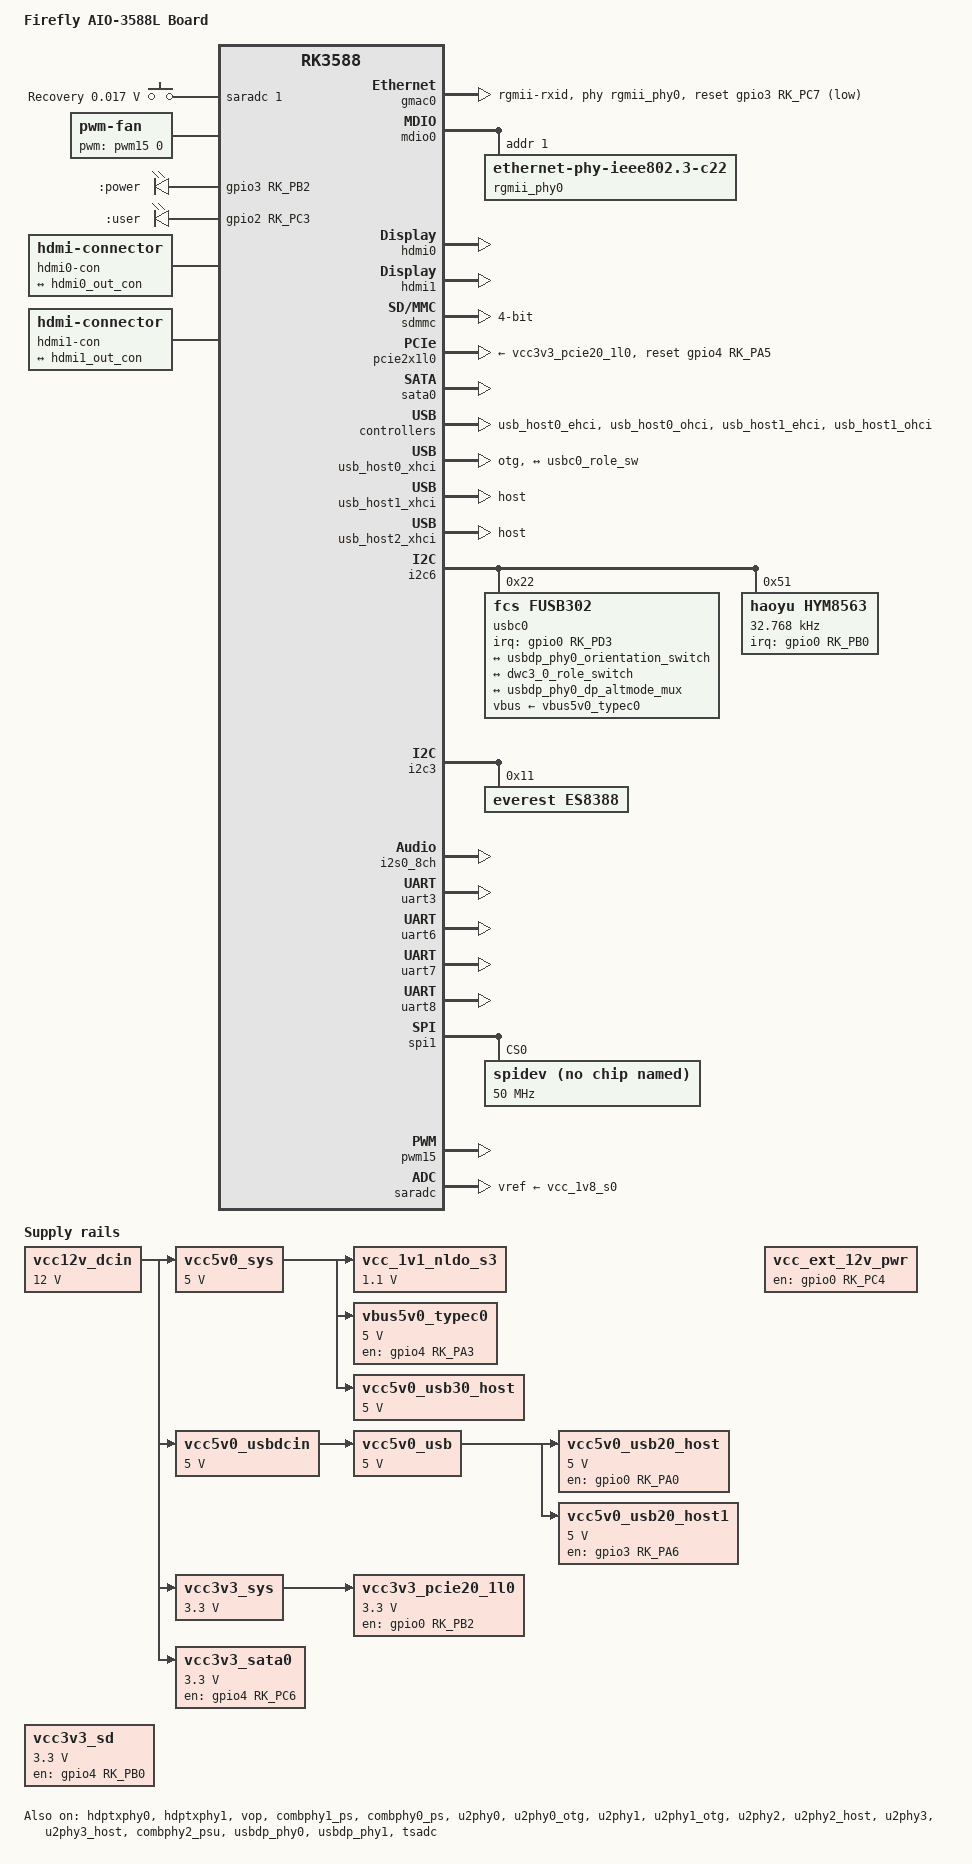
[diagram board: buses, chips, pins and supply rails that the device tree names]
// SPDX-License-Identifier: (GPL-2.0+ OR MIT)

/dts-v1/;

#include <dt-bindings/gpio/gpio.h>
#include <dt-bindings/input/input.h>
#include <dt-bindings/leds/common.h>
#include <dt-bindings/pinctrl/rockchip.h>
#include <dt-bindings/soc/rockchip,vop2.h>
#include <dt-bindings/usb/pd.h>
#include "rk3588-firefly-core-3588j.dtsi"

/ {
	model = "Firefly AIO-3588L Board";
	compatible = "firefly,aio-3588l", "rockchip,rk3588";

	aliases {
		ethernet0 = &gmac0;
		mmc1 = &sdmmc;
	};

	chosen {
		stdout-path = "serial2:1500000n8";
		bootargs = "earlycon console=ttyS2,1500000n8 root=/dev/mmcblk0p6 rootfstype=ext4 rootwait rw loglevel=3 video=HDMI-A-1:1920x1080@60 video=HDMI-A-2:1920x1080@60 fbcon=map:0";
	};

	adc-keys {
		compatible = "adc-keys";
		io-channels = <&saradc 1>;
		io-channel-names = "buttons";
		keyup-threshold-microvolt = <1800000>;
		poll-interval = <100>;

		button-recovery {
			label = "Recovery";
			linux,code = <KEY_F12>;
			press-threshold-microvolt = <17000>;
		};
	};

	fan: pwm-fan {
		compatible = "pwm-fan";
		#cooling-cells = <2>;
		pwms = <&pwm15 0 50000 0>;
		cooling-levels = <0 50 100 150 200 255>;
	};

	leds {
		compatible = "gpio-leds";
		pinctrl-names = "default";
		pinctrl-0 = <&led_pins>;

		led-0 {
			gpios = <&gpio3 RK_PB2 GPIO_ACTIVE_HIGH>;
			label = ":power";
			default-state = "on";
		};

		led-1 {
			gpios = <&gpio2 RK_PC3 GPIO_ACTIVE_HIGH>;
			label = ":user";
			default-state = "off";
		};
	};

	/* ---- fixed regulators ---- */

	vcc12v_dcin: regulator-vcc12v-dcin {
		compatible = "regulator-fixed";
		regulator-name = "vcc12v_dcin";
		regulator-always-on;
		regulator-boot-on;
		regulator-min-microvolt = <12000000>;
		regulator-max-microvolt = <12000000>;
	};

	vcc5v0_sys: regulator-vcc5v0-sys {
		compatible = "regulator-fixed";
		regulator-name = "vcc5v0_sys";
		regulator-always-on;
		regulator-boot-on;
		regulator-min-microvolt = <5000000>;
		regulator-max-microvolt = <5000000>;
		vin-supply = <&vcc12v_dcin>;
	};

	vcc5v0_usbdcin: regulator-vcc5v0-usbdcin {
		compatible = "regulator-fixed";
		regulator-name = "vcc5v0_usbdcin";
		regulator-always-on;
		regulator-boot-on;
		regulator-min-microvolt = <5000000>;
		regulator-max-microvolt = <5000000>;
		vin-supply = <&vcc12v_dcin>;
	};

	vcc5v0_usb: regulator-vcc5v0-usb {
		compatible = "regulator-fixed";
		regulator-name = "vcc5v0_usb";
		regulator-always-on;
		regulator-boot-on;
		regulator-min-microvolt = <5000000>;
		regulator-max-microvolt = <5000000>;
		vin-supply = <&vcc5v0_usbdcin>;
	};

	vcc_1v1_nldo_s3: regulator-vcc-1v1-nldo-s3 {
		compatible = "regulator-fixed";
		regulator-name = "vcc_1v1_nldo_s3";
		regulator-always-on;
		regulator-boot-on;
		regulator-min-microvolt = <1100000>;
		regulator-max-microvolt = <1100000>;
		vin-supply = <&vcc5v0_sys>;
	};

	vcc3v3_sys: regulator-vcc3v3-sys {
		compatible = "regulator-fixed";
		regulator-name = "vcc3v3_sys";
		regulator-always-on;
		regulator-boot-on;
		regulator-min-microvolt = <3300000>;
		regulator-max-microvolt = <3300000>;
		vin-supply = <&vcc12v_dcin>;
	};

	vcc_ext_12v_pwr: regulator-vcc-ext-12v-pwr {
		compatible = "regulator-fixed";
		regulator-name = "vcc_ext_12v_pwr";
		regulator-boot-on;
		regulator-always-on;
		enable-active-high;
		gpio = <&gpio0 RK_PC4 GPIO_ACTIVE_HIGH>;
	};

	vcc3v3_sd: regulator-vcc3v3-sd {
		compatible = "regulator-fixed";
		regulator-name = "vcc3v3_sd";
		regulator-min-microvolt = <3300000>;
		regulator-max-microvolt = <3300000>;
		enable-active-high;
		gpio = <&gpio4 RK_PB0 GPIO_ACTIVE_HIGH>;
		pinctrl-names = "default";
		pinctrl-0 = <&vcc3v3_sd_en>;
	};

	vbus5v0_typec0: regulator-vbus5v0-typec0 {
		compatible = "regulator-fixed";
		regulator-name = "vbus5v0_typec0";
		regulator-min-microvolt = <5000000>;
		regulator-max-microvolt = <5000000>;
		enable-active-high;
		gpio = <&gpio4 RK_PA3 GPIO_ACTIVE_HIGH>;
		pinctrl-names = "default";
		pinctrl-0 = <&vbus5v0_typec0_en>;
		vin-supply = <&vcc5v0_sys>;
	};

	vcc5v0_usb30_host: regulator-vcc5v0-usb30-host {
		compatible = "regulator-fixed";
		regulator-name = "vcc5v0_usb30_host";
		regulator-min-microvolt = <5000000>;
		regulator-max-microvolt = <5000000>;
		regulator-boot-on;
		regulator-always-on;
		vin-supply = <&vcc5v0_sys>;
	};

	vcc3v3_pcie20_1l0: regulator-vcc3v3-pcie20-1l0 {
		compatible = "regulator-fixed";
		regulator-name = "vcc3v3_pcie20_1l0";
		regulator-min-microvolt = <3300000>;
		regulator-max-microvolt = <3300000>;
		enable-active-high;
		gpio = <&gpio0 RK_PB2 GPIO_ACTIVE_HIGH>;
		startup-delay-us = <5000>;
		vin-supply = <&vcc3v3_sys>;
	};

	vcc3v3_sata0: regulator-vcc3v3-sata0 {
		compatible = "regulator-fixed";
		regulator-name = "vcc3v3_sata0";
		regulator-min-microvolt = <3300000>;
		regulator-max-microvolt = <3300000>;
		enable-active-high;
		gpio = <&gpio4 RK_PC6 GPIO_ACTIVE_HIGH>;
		startup-delay-us = <5000>;
		vin-supply = <&vcc12v_dcin>;
	};

	vcc5v0_usb20_host: regulator-vcc5v0-usb20-host {
		compatible = "regulator-fixed";
		regulator-name = "vcc5v0_usb20_host";
		regulator-boot-on;
		regulator-always-on;
		regulator-min-microvolt = <5000000>;
		regulator-max-microvolt = <5000000>;
		enable-active-high;
		gpio = <&gpio0 RK_PA0 GPIO_ACTIVE_HIGH>;
		pinctrl-names = "default";
		pinctrl-0 = <&vcc5v0_usb20_host_en>;
		vin-supply = <&vcc5v0_usb>;
	};

	vcc5v0_usb20_host1: regulator-vcc5v0-usb20-host1 {
		compatible = "regulator-fixed";
		regulator-name = "vcc5v0_usb20_host1";
		regulator-boot-on;
		regulator-always-on;
		regulator-min-microvolt = <5000000>;
		regulator-max-microvolt = <5000000>;
		enable-active-high;
		gpio = <&gpio3 RK_PA6 GPIO_ACTIVE_HIGH>;
		pinctrl-names = "default";
		pinctrl-0 = <&vcc5v0_usb20_host1_en>;
		vin-supply = <&vcc5v0_usb>;
	};

	/* ---- HDMI connectors ---- */

	hdmi0-con {
		compatible = "hdmi-connector";
		type = "a";

		port {
			hdmi0_con_in: endpoint {
				remote-endpoint = <&hdmi0_out_con>;
			};
		};
	};

	hdmi1-con {
		compatible = "hdmi-connector";
		type = "a";

		port {
			hdmi1_con_in: endpoint {
				remote-endpoint = <&hdmi1_out_con>;
			};
		};
	};
};

/* ---- Ethernet ---- */

&gmac0 {
	status = "okay";
	phy-mode = "rgmii-rxid";
	clock_in_out = "output";
	snps,reset-gpio = <&gpio3 RK_PC7 GPIO_ACTIVE_LOW>;
	snps,reset-active-low;
	snps,reset-delays-us = <0 20000 100000>;
	tx_delay = <0x39>;
	pinctrl-names = "default";
	pinctrl-0 = <&gmac0_miim
		     &gmac0_tx_bus2
		     &gmac0_rx_bus2
		     &gmac0_rgmii_clk
		     &gmac0_rgmii_bus>;
	phy-handle = <&rgmii_phy0>;
};

&mdio0 {
	rgmii_phy0: ethernet-phy@1 {
		compatible = "ethernet-phy-ieee802.3-c22";
		reg = <0x1>;
	};
};

/* ---- HDMI display ---- */

&hdmi0 {
	status = "okay";
};

&hdmi0_in {
	hdmi0_in_vp0: endpoint {
		remote-endpoint = <&vp0_out_hdmi0>;
	};
};

&hdmi0_out {
	hdmi0_out_con: endpoint {
		remote-endpoint = <&hdmi0_con_in>;
	};
};

&hdmi1 {
	status = "okay";
};

&hdmi1_in {
	hdmi1_in_vp1: endpoint {
		remote-endpoint = <&vp1_out_hdmi1>;
	};
};

&hdmi1_out {
	hdmi1_out_con: endpoint {
		remote-endpoint = <&hdmi1_con_in>;
	};
};

&hdptxphy0 {
	status = "okay";
};

&hdptxphy1 {
	status = "okay";
};

&vop {
	status = "okay";
};

&vop_mmu {
	status = "okay";
};

&vp0 {
	vp0_out_hdmi0: endpoint@ROCKCHIP_VOP2_EP_HDMI0 {
		reg = <ROCKCHIP_VOP2_EP_HDMI0>;
		remote-endpoint = <&hdmi0_in_vp0>;
	};
};

&vp1 {
	vp1_out_hdmi1: endpoint@ROCKCHIP_VOP2_EP_HDMI1 {
		reg = <ROCKCHIP_VOP2_EP_HDMI1>;
		remote-endpoint = <&hdmi1_in_vp1>;
	};
};

/* DP disabled */
/*
&vp2 {
	vp2_out_dp0: endpoint@ROCKCHIP_VOP2_EP_DP0 {
		reg = <ROCKCHIP_VOP2_EP_DP0>;
		remote-endpoint = <&dp0_in_vp2>;
	};
};
*/

/* ---- DP (via Type-C) ---- */

/* DP disabled - causes DRM crash on 7.0 */
/*
&dp0 {
	status = "okay";
};

&dp0_in {
	dp0_in_vp2: endpoint {
		remote-endpoint = <&vp2_out_dp0>;
	};
};
*/

/* ---- SD card ---- */

&sdmmc {
	status = "okay";
	max-frequency = <150000000>;
	no-sdio;
	no-mmc;
	bus-width = <4>;
	cap-mmc-highspeed;
	cap-sd-highspeed;
	disable-wp;
	sd-uhs-sdr104;
	vqmmc-supply = <&vccio_sd_s0>;
};

/* ---- PCIe WiFi ---- */

&combphy1_ps {
	status = "okay";
};

&pcie2x1l0 {
	status = "okay";
	reset-gpios = <&gpio4 RK_PA5 GPIO_ACTIVE_HIGH>;
	vpcie3v3-supply = <&vcc3v3_pcie20_1l0>;
};

/* ---- SATA (M.2) ---- */

&combphy0_ps {
	status = "okay";
};

&sata0 {
	status = "okay";
	target-supply = <&vcc3v3_sata0>;
};

/* ---- USB ---- */

&u2phy0 {
	status = "okay";
};

&u2phy0_otg {
	status = "okay";
};

&u2phy1 {
	status = "okay";
};

&u2phy1_otg {
	status = "okay";
	phy-supply = <&vcc5v0_usb30_host>;
};

&u2phy2 {
	status = "okay";
};

&u2phy2_host {
	status = "okay";
	phy-supply = <&vcc5v0_usb20_host>;
};

&u2phy3 {
	status = "okay";
};

&u2phy3_host {
	status = "okay";
	phy-supply = <&vcc5v0_usb20_host1>;
};

&usb_host0_ehci {
	status = "okay";
};

&usb_host0_ohci {
	status = "okay";
};

&usb_host1_ehci {
	status = "okay";
};

&usb_host1_ohci {
	status = "okay";
};

&usb_host0_xhci {
	dr_mode = "otg";
	usb-role-switch;
	status = "okay";

	port {
		dwc3_0_role_switch: endpoint {
			remote-endpoint = <&usbc0_role_sw>;
		};
	};
};

&usb_host1_xhci {
	dr_mode = "host";
	status = "okay";
};

&usb_host2_xhci {
	dr_mode = "host";
	status = "okay";
};

&combphy2_psu {
	status = "okay";
};

&usbdp_phy0 {
	orientation-switch;
	sbu1-dc-gpios = <&gpio4 RK_PB2 GPIO_ACTIVE_HIGH>;
	sbu2-dc-gpios = <&gpio4 RK_PB3 GPIO_ACTIVE_HIGH>;
	status = "okay";

	port {
		#address-cells = <1>;
		#size-cells = <0>;

		usbdp_phy0_orientation_switch: endpoint@0 {
			reg = <0>;
			remote-endpoint = <&usbc0_orien_sw>;
		};

		usbdp_phy0_dp_altmode_mux: endpoint@1 {
			reg = <1>;
			remote-endpoint = <&dp_altmode_mux>;
		};
	};
};

&usbdp_phy1 {
	status = "okay";
};

/* ---- Type-C FUSB302 + RTC on I2C6 ---- */

&i2c6 {
	status = "okay";
	pinctrl-names = "default";
	pinctrl-0 = <&i2c6m0_xfer>;

	usbc0: usb-typec@22 {
		compatible = "fcs,fusb302";
		reg = <0x22>;
		interrupt-parent = <&gpio0>;
		interrupts = <RK_PD3 IRQ_TYPE_LEVEL_LOW>;
		pinctrl-names = "default";
		pinctrl-0 = <&usbc0_int>;
		vbus-supply = <&vbus5v0_typec0>;
		status = "okay";

		usb_con: connector {
			compatible = "usb-c-connector";
			label = "USB-C";
			data-role = "dual";
			power-role = "dual";
			try-power-role = "sink";
			op-sink-microwatt = <1000000>;
			sink-pdos =
				<PDO_FIXED(5000, 1000, PDO_FIXED_USB_COMM)>;
			source-pdos =
				<PDO_FIXED(5000, 3000, PDO_FIXED_USB_COMM)>;

			altmodes {
				#address-cells = <1>;
				#size-cells = <0>;

				altmode@0 {
					reg = <0>;
					svid = <0xff01>;
					vdo = <0xffffffff>;
				};
			};

			ports {
				#address-cells = <1>;
				#size-cells = <0>;

				port@0 {
					reg = <0>;
					usbc0_orien_sw: endpoint {
						remote-endpoint = <&usbdp_phy0_orientation_switch>;
					};
				};

				port@1 {
					reg = <1>;
					usbc0_role_sw: endpoint {
						remote-endpoint = <&dwc3_0_role_switch>;
					};
				};

				port@2 {
					reg = <2>;
					dp_altmode_mux: endpoint {
						remote-endpoint = <&usbdp_phy0_dp_altmode_mux>;
					};
				};
			};
		};
	};

	hym8563: rtc@51 {
		compatible = "haoyu,hym8563";
		reg = <0x51>;
		#clock-cells = <0>;
		clock-frequency = <32768>;
		clock-output-names = "hym8563";
		pinctrl-names = "default";
		pinctrl-0 = <&hym8563_int>;
		interrupt-parent = <&gpio0>;
		interrupts = <RK_PB0 IRQ_TYPE_LEVEL_LOW>;
		wakeup-source;
	};
};

/* ---- Audio (ES8388) ---- */

&i2c3 {
	status = "okay";
	pinctrl-names = "default";
	pinctrl-0 = <&i2c3m0_xfer>;

	es8388: audio-codec@11 {
		compatible = "everest,es8388", "everest,es8323";
		reg = <0x11>;
		clocks = <&cru I2S0_8CH_MCLKOUT>;
		clock-names = "mclk";
		assigned-clocks = <&cru I2S0_8CH_MCLKOUT>;
		assigned-clock-rates = <12288000>;
		#sound-dai-cells = <0>;
	};
};

&i2s0_8ch {
	status = "okay";
	pinctrl-0 = <&i2s0_lrck
		     &i2s0_sclk
		     &i2s0_sdi0
		     &i2s0_sdo0>;
};

/* ---- UARTs ---- */

&uart3 {
	status = "okay";
	pinctrl-names = "default";
	pinctrl-0 = <&uart3m1_xfer>;
};

&uart6 {
	status = "okay";
	pinctrl-names = "default";
	pinctrl-0 = <&uart6m1_xfer &uart6m1_ctsn &uart6m1_rtsn>;
};

&uart7 {
	status = "okay";
	pinctrl-names = "default";
	pinctrl-0 = <&uart7m1_xfer>;
};

&uart8 {
	status = "okay";
	pinctrl-names = "default";
	pinctrl-0 = <&uart8m1_xfer>;
};

/* ---- SPI1 ---- */

&spi1 {
	status = "okay";
	pinctrl-names = "default";
	pinctrl-0 = <&spi1m2_cs0 &spi1m2_pins>;
	num-cs = <1>;
	max-freq = <50000000>;

	spidev: spi@0 {
		compatible = "rohm,dh2228fv";
		reg = <0>;
		spi-max-frequency = <50000000>;
	};
};

/* ---- PWM, ADC, Thermal ---- */

&pwm15 {
	status = "okay";
	pinctrl-names = "default";
	pinctrl-0 = <&pwm15m2_pins>;
};

&saradc {
	vref-supply = <&vcc_1v8_s0>;
	status = "okay";
};

&tsadc {
	status = "okay";
};

/* ---- Pinmux ---- */

&pinctrl {
	leds {
		led_pins: led-pins {
			rockchip,pins = <3 RK_PB2 RK_FUNC_GPIO &pcfg_pull_none>,
					<2 RK_PC3 RK_FUNC_GPIO &pcfg_pull_none>;
		};
	};

	sd-card {
		vcc3v3_sd_en: vcc3v3-sd-en {
			rockchip,pins = <4 RK_PB0 RK_FUNC_GPIO &pcfg_pull_none>;
		};
	};

	typec0 {
		vbus5v0_typec0_en: vbus5v0-typec0-en {
			rockchip,pins = <4 RK_PA3 RK_FUNC_GPIO &pcfg_pull_none>;
		};

		usbc0_int: usbc0-int {
			rockchip,pins = <0 RK_PD3 RK_FUNC_GPIO &pcfg_pull_up>;
		};
	};

	usb20-host0 {
		vcc5v0_usb20_host_en: vcc5v0-usb20-host-en {
			rockchip,pins = <0 RK_PA0 RK_FUNC_GPIO &pcfg_pull_none>;
		};
	};

	usb20-host1 {
		vcc5v0_usb20_host1_en: vcc5v0-usb20-host1-en {
			rockchip,pins = <3 RK_PA6 RK_FUNC_GPIO &pcfg_pull_none>;
		};
	};

	hym8563 {
		hym8563_int: hym8563-int {
			rockchip,pins = <0 RK_PB0 RK_FUNC_GPIO &pcfg_pull_up>;
		};
	};

	pmic {
		pmic_pins: pmic-pins {
			rockchip,pins = <0 RK_PA7 RK_FUNC_GPIO &pcfg_pull_none>;
		};
	};
};
